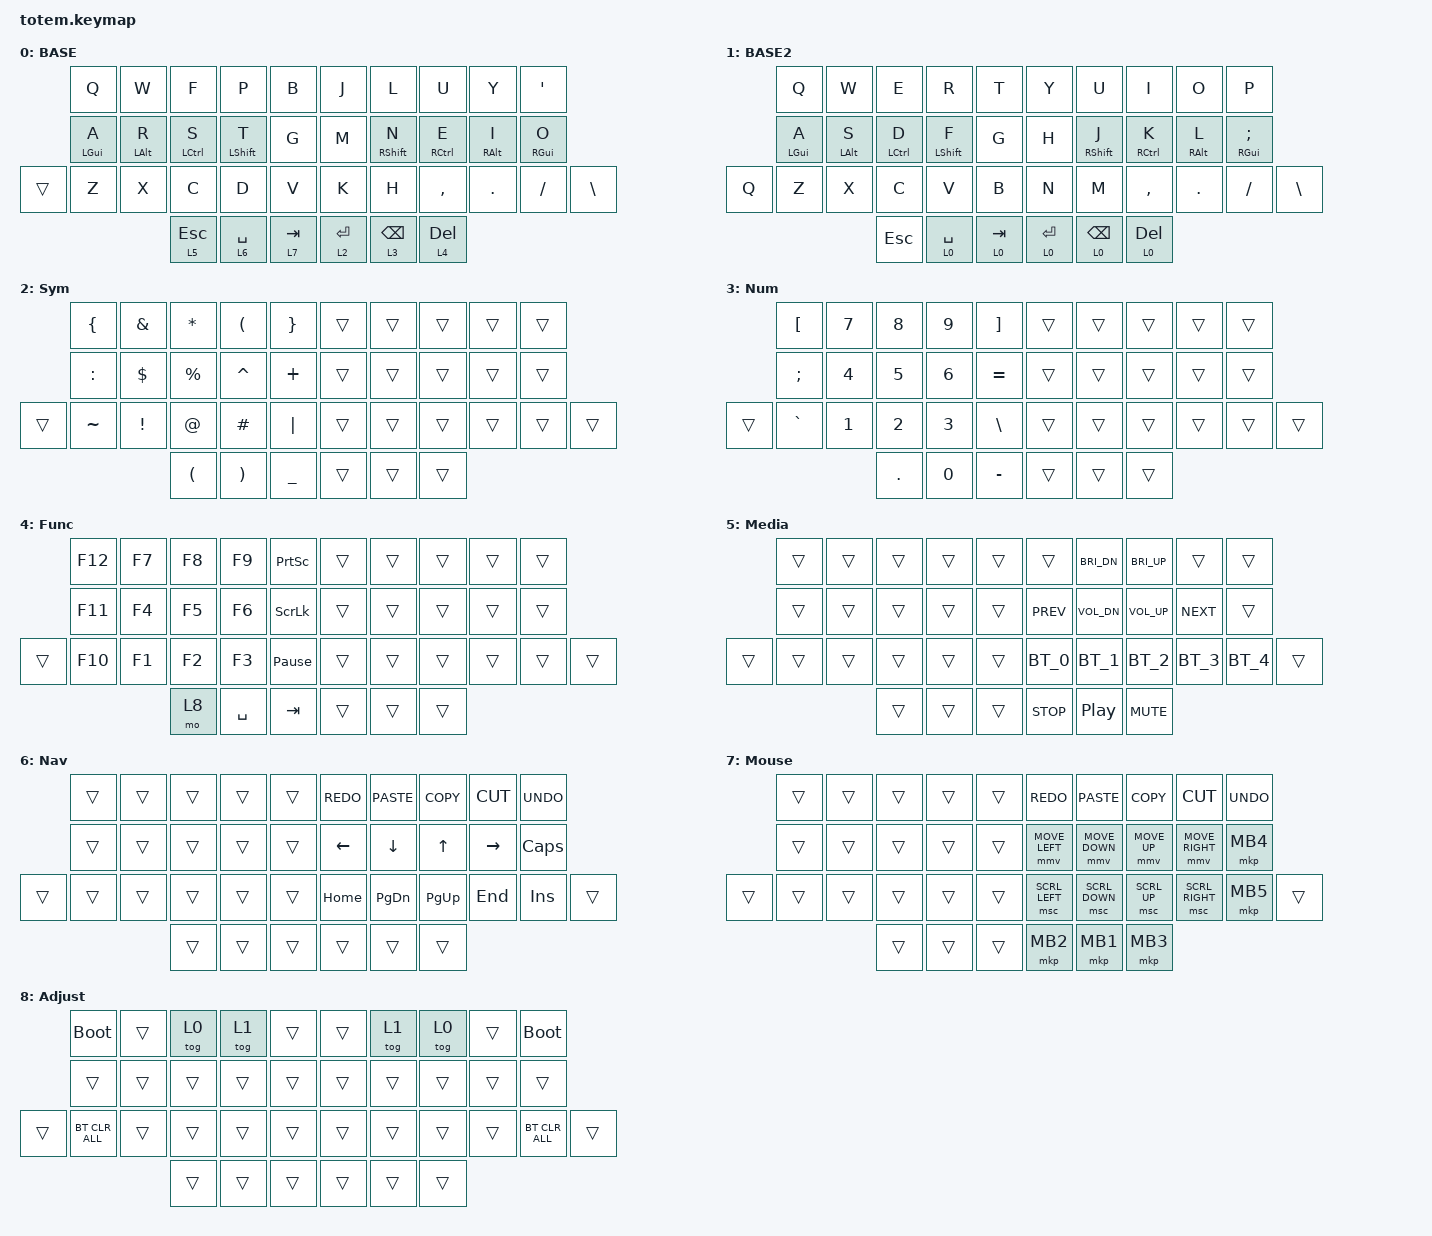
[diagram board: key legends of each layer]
//
//                                                        ▀▀▀▀▀     ▀▀▀▀▀          ▀▀█▀▀
//                                                        ▄▀▀▀▄  ▄  ▄▀▀▀▄  ▄  ▄▀▀▀▄  █  ▄▀▀▀▄
//                                                        █   █  █  █   █  █  █   █  █  █   █
//                                                         ▀▀▀   █   ▀▀▀   █   ▀▀▀   ▀   ▀▀▀
//                                                               █      ▄▄▄█▄▄▄    █   █  
//                                                               ▀      █  █  █     █▄█
//                                                             ▀▀▀▀▀    █  █  █      ▀
//                                                                      ▀  ▀  ▀
//
// ▄▄▄▄▄▄▄▄▄▄▄▄▄▄▄▄▄▄▄▄▄▄▄▄▄▄▄▄▄▄▄▄▄▄▄▄▄▄▄▄▄▄▄▄▄▄▄▄▄▄▄▄▄▄▄▄▄▄▄▄▄▄▄▄▄▄▄▄▄▄▄▄▄▄▄▄▄▄▄▄▄▄▄▄▄▄▄▄▄▄▄▄▄▄▄▄▄▄▄▄▄▄▄▄▄▄▄▄▄▄▄▄▄▄▄▄▄▄▄▄▄▄▄▄▄▄▄▄▄▄▄▄▄▄▄▄▄▄▄▄▄▄▄▄▄▄▄▄▄

#include <behaviors.dtsi>
#include <dt-bindings/zmk/bt.h>
#include <dt-bindings/zmk/keys.h>
#include <dt-bindings/zmk/pointing.h>

#define BASE 0
#define NAV  1
#define SYM  2
#define ADJ  3
#define TVP1 4
#define TVP2 5

&mt {
    quick-tap-ms = <100>;
    global-quick-tap;
    flavor = "tap-preferred";
    tapping-term-ms = <170>;
};

/ {
    combos {
        compatible = "zmk,combos";

        combo_esc {
            timeout-ms = <50>;
            key-positions = <0 1>;
            bindings = <&kp ESC>;
        };

        combo_tvp {
            timeout-ms = <100>;
            key-positions = <11 12 13>;
            bindings = <&tog 0>;
        };
    };

    macros {
        gif: gif {
            label = "giphy";
            compatible = "zmk,behavior-macro";
            #binding-cells = <0>;
            bindings =
                <&macro_press>,
                <&kp LSHFT>,
                <&macro_tap>,
                <&kp N2>,
                <&macro_release>,
                <&kp LSHFT>,
                <&macro_tap>,
                <&kp G &kp I &kp F>;
        };
    };

    behaviors {
        HMR: HMR {
            compatible = "zmk,behavior-hold-tap";
            label = "HMR";
            bindings = <&kp>, <&kp>;

            #binding-cells = <2>;
            tapping-term-ms = <200>;
            quick-tap-ms = <175>;
            flavor = "balanced";
            hold-trigger-key-positions = <0 10 11 13 14 20 21 22 23 24 25 32 33 34 0 1 2 3 4 12 13 35 36 37>;
            hold-trigger-on-release;
        };

        HML: HML {
            compatible = "zmk,behavior-hold-tap";
            label = "HML";
            bindings = <&kp>, <&kp>;

            #binding-cells = <2>;
            hold-trigger-on-release;
            hold-trigger-key-positions = <5 6 7 8 9 15 16 17 18 19 26 27 28 29 30 31 36 37 35 32 33 34>;
            tapping-term-ms = <200>;
            quick-tap-ms = <175>;
            flavor = "balanced";
        };

        BT_0: BT_0 {
            compatible = "zmk,behavior-mod-morph";
            label = "BT_0";
            bindings = <&bt BT_SEL 0>, <&bt BT_DISC 0>;

            #binding-cells = <0>;
            mods = <(MOD_LSFT|MOD_RSFT)>;
        };

        BT_1: BT_1 {
            compatible = "zmk,behavior-mod-morph";
            label = "BT_1";
            bindings = <&bt BT_SEL 1>, <&bt BT_DISC 1>;

            #binding-cells = <0>;
            mods = <(MOD_LSFT|MOD_RSFT)>;
        };

        BT_2: BT_2 {
            compatible = "zmk,behavior-mod-morph";
            label = "BT_2";
            bindings = <&bt BT_SEL 2>, <&bt BT_DISC 2>;

            #binding-cells = <0>;
            mods = <(MOD_LSFT|MOD_RSFT)>;
        };

        BT_3: BT_3 {
            compatible = "zmk,behavior-mod-morph";
            label = "BT_3";
            bindings = <&bt BT_SEL 3>, <&bt BT_DISC 3>;

            #binding-cells = <0>;
            mods = <(MOD_LSFT|MOD_RSFT)>;
        };

        BT_4: BT_4 {
            compatible = "zmk,behavior-mod-morph";
            label = "BT_4";
            bindings = <&bt BT_SEL 4>, <&bt BT_DISC 4>;

            #binding-cells = <0>;
            mods = <(MOD_LSFT|MOD_RSFT)>;
        };
    };

    keymap {
        compatible = "zmk,keymap";

        // ▄▄▄▄▄▄▄▄▄▄▄▄▄▄▄▄▄▄▄▄▄▄▄▄▄▄▄▄▄▄▄▄▄▄▄▄▄▄▄▄▄▄▄▄▄▄▄▄▄▄▄▄▄▄▄▄▄▄▄▄▄▄▄▄▄▄▄▄▄▄▄▄▄▄▄▄▄▄▄▄▄▄▄▄▄▄▄▄▄▄▄▄▄▄▄▄▄▄▄▄▄▄▄▄▄▄▄▄▄▄▄▄▄▄▄▄▄▄▄▄▄▄▄▄▄▄▄▄▄▄▄▄▄▄▄▄▄▄▄▄▄▄▄▄▄▄▄▄▄

        Colemak_BaseLayer {
            // ┏━━━━━━━━━━━━━━━━━━━━━━━━━━━━━━━━━━━━━━━┓

            label = "BASE";

            // ┗━━━━━━━━━━━━━━━━━━━━━━━━━━━━━━━━━━━━━━━┛
            //             ┏━━━━━━━━━━━┳━━━━━━━━━━━┳━━━━━━━━━━━┳━━━━━━━━━━━┳━━━━━━━━━━━┓   ┏━━━━━━━━━━━┳━━━━━━━━━━━┳━━━━━━━━━━━┳━━━━━━━━━━━┳━━━━━━━━━━━┓
            //             ┃     Q     ┃     W     ┃     F     ┃     P     ┃     G     ┃   ┃     J     ┃     L     ┃     U     ┃     Y     ┃     ;     ┃
            //             ┣━━━━━━━━━━━╋━━━━━━━━━━━╋━━━━━━━━━━━╋━━━━━━━━━━━╋━━━━━━━━━━━┫   ┣━━━━━━━━━━━╋━━━━━━━━━━━╋━━━━━━━━━━━╋━━━━━━━━━━━╋━━━━━━━━━━━┫
            //             ┃     A     ┃     R     ┃     S     ┃     T     ┃     D     ┃   ┃     H     ┃     N     ┃     E     ┃     I     ┃     O     ┃
            // ┏━━━━━━━━━━━╋━━━━━━━━━━━╋━━━━━━━━━━━╋━━━━━━━━━━━╋━━━━━━━━━━━╋━━━━━━━━━━━┫   ┣━━━━━━━━━━━╋━━━━━━━━━━━╋━━━━━━━━━━━╋━━━━━━━━━━━╋━━━━━━━━━━━╋━━━━━━━━━━━┓
            // ┃     Q     ┃     Z     ┃     X     ┃     C     ┃     V     ┃     B     ┃   ┃     K     ┃     M     ┃     ,     ┃     .     ┃     /     ┃     \     ┃
            // ┗━━━━━━━━━━━┻━━━━━━━━━━━┻━━━━━━━━━━━╋━━━━━━━━━━━╋━━━━━━━━━━━╋━━━━━━━━━━━┫   ┣━━━━━━━━━━━╋━━━━━━━━━━━╋━━━━━━━━━━━╋━━━━━━━━━━━┻━━━━━━━━━━━┻━━━━━━━━━━━┛
            //                                     ┃    DEL    ┃    TAB    ┃    SPC    ┃   ┃   ENTER   ┃           ┃   BSPC    ┃
            //                                     ┗━━━━━━━━━━━┻━━━━━━━━━━━┻━━━━━━━━━━━┛   ┗━━━━━━━━━━━┻━━━━━━━━━━━┻━━━━━━━━━━━┛

            bindings = <
        &kp Q        &kp W        &kp F         &kp P         &kp B        &kp J      &kp L         &kp U         &kp Y        &kp APOS
        &HML LGUI A  &HML LALT R  &HML LCTRL S  &HML LSHFT T  &kp G        &kp M      &HMR RSHFT N  &HMR RCTRL E  &HMR RALT I  &HMR RGUI O
&trans  &kp Z        &kp X        &kp C         &kp D         &kp V        &kp K      &kp H         &kp COMMA     &kp DOT      &kp FSLH     &kp BSLH
                                  &lt 5 ESC     &lt 6 SPACE   &lt 7 TAB    &lt 2 RET  &lt 3 BSPC    &lt 4 DEL
            >;
        };

        QWERTY_BaseLayer {
            label = "BASE2";
            bindings = <
       &kp Q        &kp W        &kp E         &kp R         &kp T        &kp Y      &kp U         &kp I         &kp O        &kp P
       &HML LGUI A  &HML LALT S  &HML LCTRL D  &HML LSHFT F  &kp G        &kp H      &HMR RSHFT J  &HMR RCTRL K  &HMR RALT L  &HMR RGUI SEMICOLON
&kp Q  &kp Z        &kp X        &kp C         &kp V         &kp B        &kp N      &kp M         &kp COMMA     &kp DOT      &kp FSLH             &kp BSLH
                                 &kp ESC       &lt 0 SPACE   &lt 0 TAB    &lt 0 RET  &lt 0 BSPC    &lt 0 DEL
            >;
        };

        Sym {
            bindings = <
        &kp LBRC   &kp AMPS  &kp ASTRK             &kp LPAR               &kp RBRC          &trans  &trans  &trans  &trans  &trans
        &kp COLON  &kp DLLR  &kp PRCNT             &kp CARET              &kp PLUS          &trans  &trans  &trans  &trans  &trans
&trans  &kp TILDE  &kp EXCL  &kp AT_SIGN           &kp HASH               &kp PIPE          &trans  &trans  &trans  &trans  &trans  &trans
                             &kp LEFT_PARENTHESIS  &kp RIGHT_PARENTHESIS  &kp UNDERSCORE    &trans  &trans  &trans
            >;
        };

        Num {
            bindings = <
        &kp LBKT   &kp N7  &kp N8   &kp N9  &kp RBKT     &trans  &trans  &trans  &trans  &trans
        &kp SEMI   &kp N4  &kp N5   &kp N6  &kp EQUAL    &trans  &trans  &trans  &trans  &trans
&trans  &kp GRAVE  &kp N1  &kp N2   &kp N3  &kp BSLH     &trans  &trans  &trans  &trans  &trans  &trans
                           &kp DOT  &kp N0  &kp MINUS    &trans  &trans  &trans
            >;
        };

        Func {
            bindings = <
        &kp F12  &kp F7  &kp F8  &kp F9     &kp PSCRN          &trans  &trans  &trans  &trans  &trans
        &kp F11  &kp F4  &kp F5  &kp F6     &kp SLCK           &trans  &trans  &trans  &trans  &trans
&trans  &kp F10  &kp F1  &kp F2  &kp F3     &kp PAUSE_BREAK    &trans  &trans  &trans  &trans  &trans  &trans
                         &mo 8   &kp SPACE  &kp TAB            &trans  &trans  &trans
            >;
        };

        Media {
            bindings = <
        &trans  &trans  &trans  &trans  &trans    &trans      &kp C_BRI_DN  &kp C_BRI_UP  &trans      &trans
        &trans  &trans  &trans  &trans  &trans    &kp C_PREV  &kp C_VOL_DN  &kp C_VOL_UP  &kp C_NEXT  &trans
&trans  &trans  &trans  &trans  &trans  &trans    &BT_0       &BT_1         &BT_2         &BT_3       &BT_4   &trans
                        &trans  &trans  &trans    &kp C_STOP  &kp C_PP      &kp K_MUTE
            >;
        };

        Nav {
            bindings = <
        &trans  &trans  &trans  &trans  &trans    &kp K_REDO  &kp K_PASTE  &kp K_COPY  &kp K_CUT  &kp K_UNDO
        &trans  &trans  &trans  &trans  &trans    &kp LEFT    &kp DOWN     &kp UP      &kp RIGHT  &kp CAPS
&trans  &trans  &trans  &trans  &trans  &trans    &kp HOME    &kp PG_DN    &kp PG_UP   &kp END    &kp INS     &trans
                        &trans  &trans  &trans    &trans      &trans       &trans
            >;
        };

        Mouse {
            bindings = <
        &trans  &trans  &trans  &trans  &trans    &kp K_REDO      &kp K_PASTE     &kp K_COPY    &kp K_CUT        &kp K_UNDO
        &trans  &trans  &trans  &trans  &trans    &mmv MOVE_LEFT  &mmv MOVE_DOWN  &mmv MOVE_UP  &mmv MOVE_RIGHT  &mkp MB4
&trans  &trans  &trans  &trans  &trans  &trans    &msc SCRL_LEFT  &msc SCRL_DOWN  &msc SCRL_UP  &msc SCRL_RIGHT  &mkp MB5    &trans
                        &trans  &trans  &trans    &mkp MB2        &mkp MB1        &mkp MB3
            >;
        };

        Adjust {
            bindings = <
        &bootloader     &trans  &tog 0  &tog 1  &trans    &trans  &tog 1  &tog 0  &trans  &bootloader
        &trans          &trans  &trans  &trans  &trans    &trans  &trans  &trans  &trans  &trans
&trans  &bt BT_CLR_ALL  &trans  &trans  &trans  &trans    &trans  &trans  &trans  &trans  &bt BT_CLR_ALL  &trans
                                &trans  &trans  &trans    &trans  &trans  &trans
            >;
        };

        // ▄▄▄▄▄▄▄▄▄▄▄▄▄▄▄▄▄▄▄▄▄▄▄▄▄▄▄▄▄▄▄▄▄▄▄▄▄▄▄▄▄▄▄▄▄▄▄▄▄▄▄▄▄▄▄▄▄▄▄▄▄▄▄▄▄▄▄▄▄▄▄▄▄▄▄▄▄▄▄▄▄▄▄▄▄▄▄▄▄▄▄▄▄▄▄▄▄▄▄▄▄▄▄▄▄▄▄▄▄▄▄▄▄▄▄▄▄▄▄▄▄▄▄▄▄▄▄▄▄▄▄▄▄▄▄▄▄▄▄▄▄▄▄▄▄▄▄▄▄
        // ▄▄▄▄▄▄▄▄▄▄▄▄▄▄▄▄▄▄▄▄▄▄▄▄▄▄▄▄▄▄▄▄▄▄▄▄▄▄▄▄▄▄▄▄▄▄▄▄▄▄▄▄▄▄▄▄▄▄▄▄▄▄▄▄▄▄▄▄▄▄▄▄▄▄▄▄▄▄▄▄▄▄▄▄▄▄▄▄▄▄▄▄▄▄▄▄▄▄▄▄▄▄▄▄▄▄▄▄▄▄▄▄▄▄▄▄▄▄▄▄▄▄▄▄▄▄▄▄▄▄▄▄▄▄▄▄▄▄▄▄▄▄▄▄▄▄▄▄▄
        // ▄▄▄▄▄▄▄▄▄▄▄▄▄▄▄▄▄▄▄▄▄▄▄▄▄▄▄▄▄▄▄▄▄▄▄▄▄▄▄▄▄▄▄▄▄▄▄▄▄▄▄▄▄▄▄▄▄▄▄▄▄▄▄▄▄▄▄▄▄▄▄▄▄▄▄▄▄▄▄▄▄▄▄▄▄▄▄▄▄▄▄▄▄▄▄▄▄▄▄▄▄▄▄▄▄▄▄▄▄▄▄▄▄▄▄▄▄▄▄▄▄▄▄▄▄▄▄▄▄▄▄▄▄▄▄▄▄▄▄▄▄▄▄▄▄▄▄▄▄
        // ▄▄▄▄▄▄▄▄▄▄▄▄▄▄▄▄▄▄▄▄▄▄▄▄▄▄▄▄▄▄▄▄▄▄▄▄▄▄▄▄▄▄▄▄▄▄▄▄▄▄▄▄▄▄▄▄▄▄▄▄▄▄▄▄▄▄▄▄▄▄▄▄▄▄▄▄▄▄▄▄▄▄▄▄▄▄▄▄▄▄▄▄▄▄▄▄▄▄▄▄▄▄▄▄▄▄▄▄▄▄▄▄▄▄▄▄▄▄▄▄▄▄▄▄▄▄▄▄▄▄▄▄▄▄▄▄▄▄▄▄▄▄▄▄▄▄▄▄▄
        // ▄▄▄▄▄▄▄▄▄▄▄▄▄▄▄▄▄▄▄▄▄▄▄▄▄▄▄▄▄▄▄▄▄▄▄▄▄▄▄▄▄▄▄▄▄▄▄▄▄▄▄▄▄▄▄▄▄▄▄▄▄▄▄▄▄▄▄▄▄▄▄▄▄▄▄▄▄▄▄▄▄▄▄▄▄▄▄▄▄▄▄▄▄▄▄▄▄▄▄▄▄▄▄▄▄▄▄▄▄▄▄▄▄▄▄▄▄▄▄▄▄▄▄▄▄▄▄▄▄▄▄▄▄▄▄▄▄▄▄▄▄▄▄▄▄▄▄▄▄
    };
};
